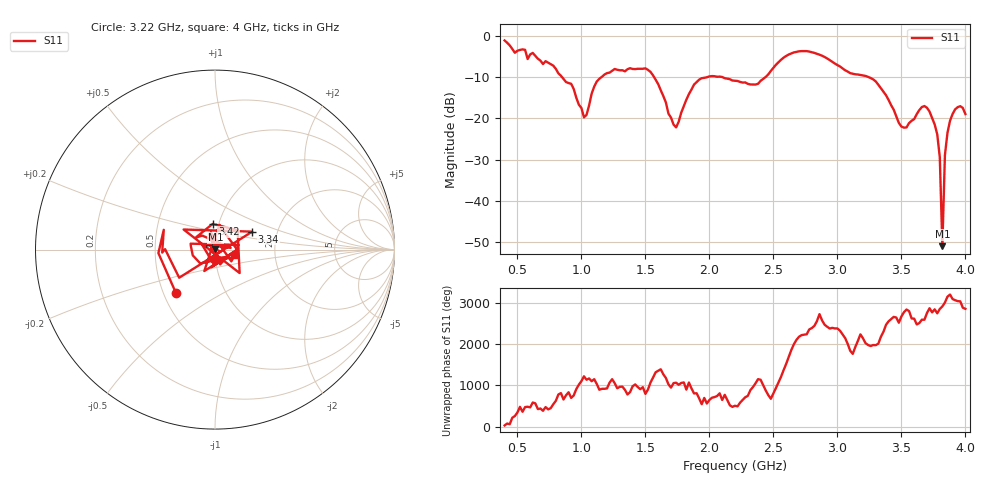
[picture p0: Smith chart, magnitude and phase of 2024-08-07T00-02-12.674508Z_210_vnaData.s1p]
!Created with skrf (http://scikit-rf.org).
# Hz S RI R 50.0
!freq ReS11 ImS11
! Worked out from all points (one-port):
!   181 points, 400 MHz to 4 GHz, reference 50 ohm
!   lowest |S11| = -50.9 dB at 3.82 GHz (marker M1), VSWR 1.01, Z = 50.2 + j0.197 ohm
!   |S11| at or under -10 dB: 1.567 GHz to 1.989 GHz (422.5 MHz wide, 23.8 % of centre); 2.093 GHz to 2.44 GHz (347.6 MHz wide, 15.3 % of centre); 3.24 GHz to end of sweep (the widest 3 of 4)
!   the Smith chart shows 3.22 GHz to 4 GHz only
!   S11 on the Smith chart (normalised r, x): 3.22 GHz: 0.58, -0.31; 3.34 GHz: 1.48, +0.31; 3.42 GHz: 0.93, +0.27; 4 GHz: 1.24, -0.08
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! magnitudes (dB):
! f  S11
! 400 MHz  -1.2
! 860 MHz  -10.5
! 920 MHz  -11.7
! 1.02 GHz  -19.8
! 1.12 GHz  -11.1
! 1.3 GHz  -8.4
! 1.54 GHz  -8.8
! 1.72 GHz  -21.5
! 1.76 GHz  -20.8
! 1.92 GHz  -10.7
! 2.2 GHz  -11.0
! 2.38 GHz  -11.7
! 2.66 GHz  -4.1
! 2.86 GHz  -4.6
! 3.1 GHz  -9.1
! 3.22 GHz  -9.8
! 3.34 GHz  -12.8
! 3.42 GHz  -16.9
! 3.5 GHz  -22.0
! 3.56 GHz  -21.2
! 3.68 GHz  -17.1
! 3.76 GHz  -21.5
! 3.8 GHz  -29.4
! 3.82 GHz  -50.9
! 3.84 GHz  -28.9
! 3.86 GHz  -23.5
! 3.92 GHz  -17.8
! 4 GHz  -19.0
